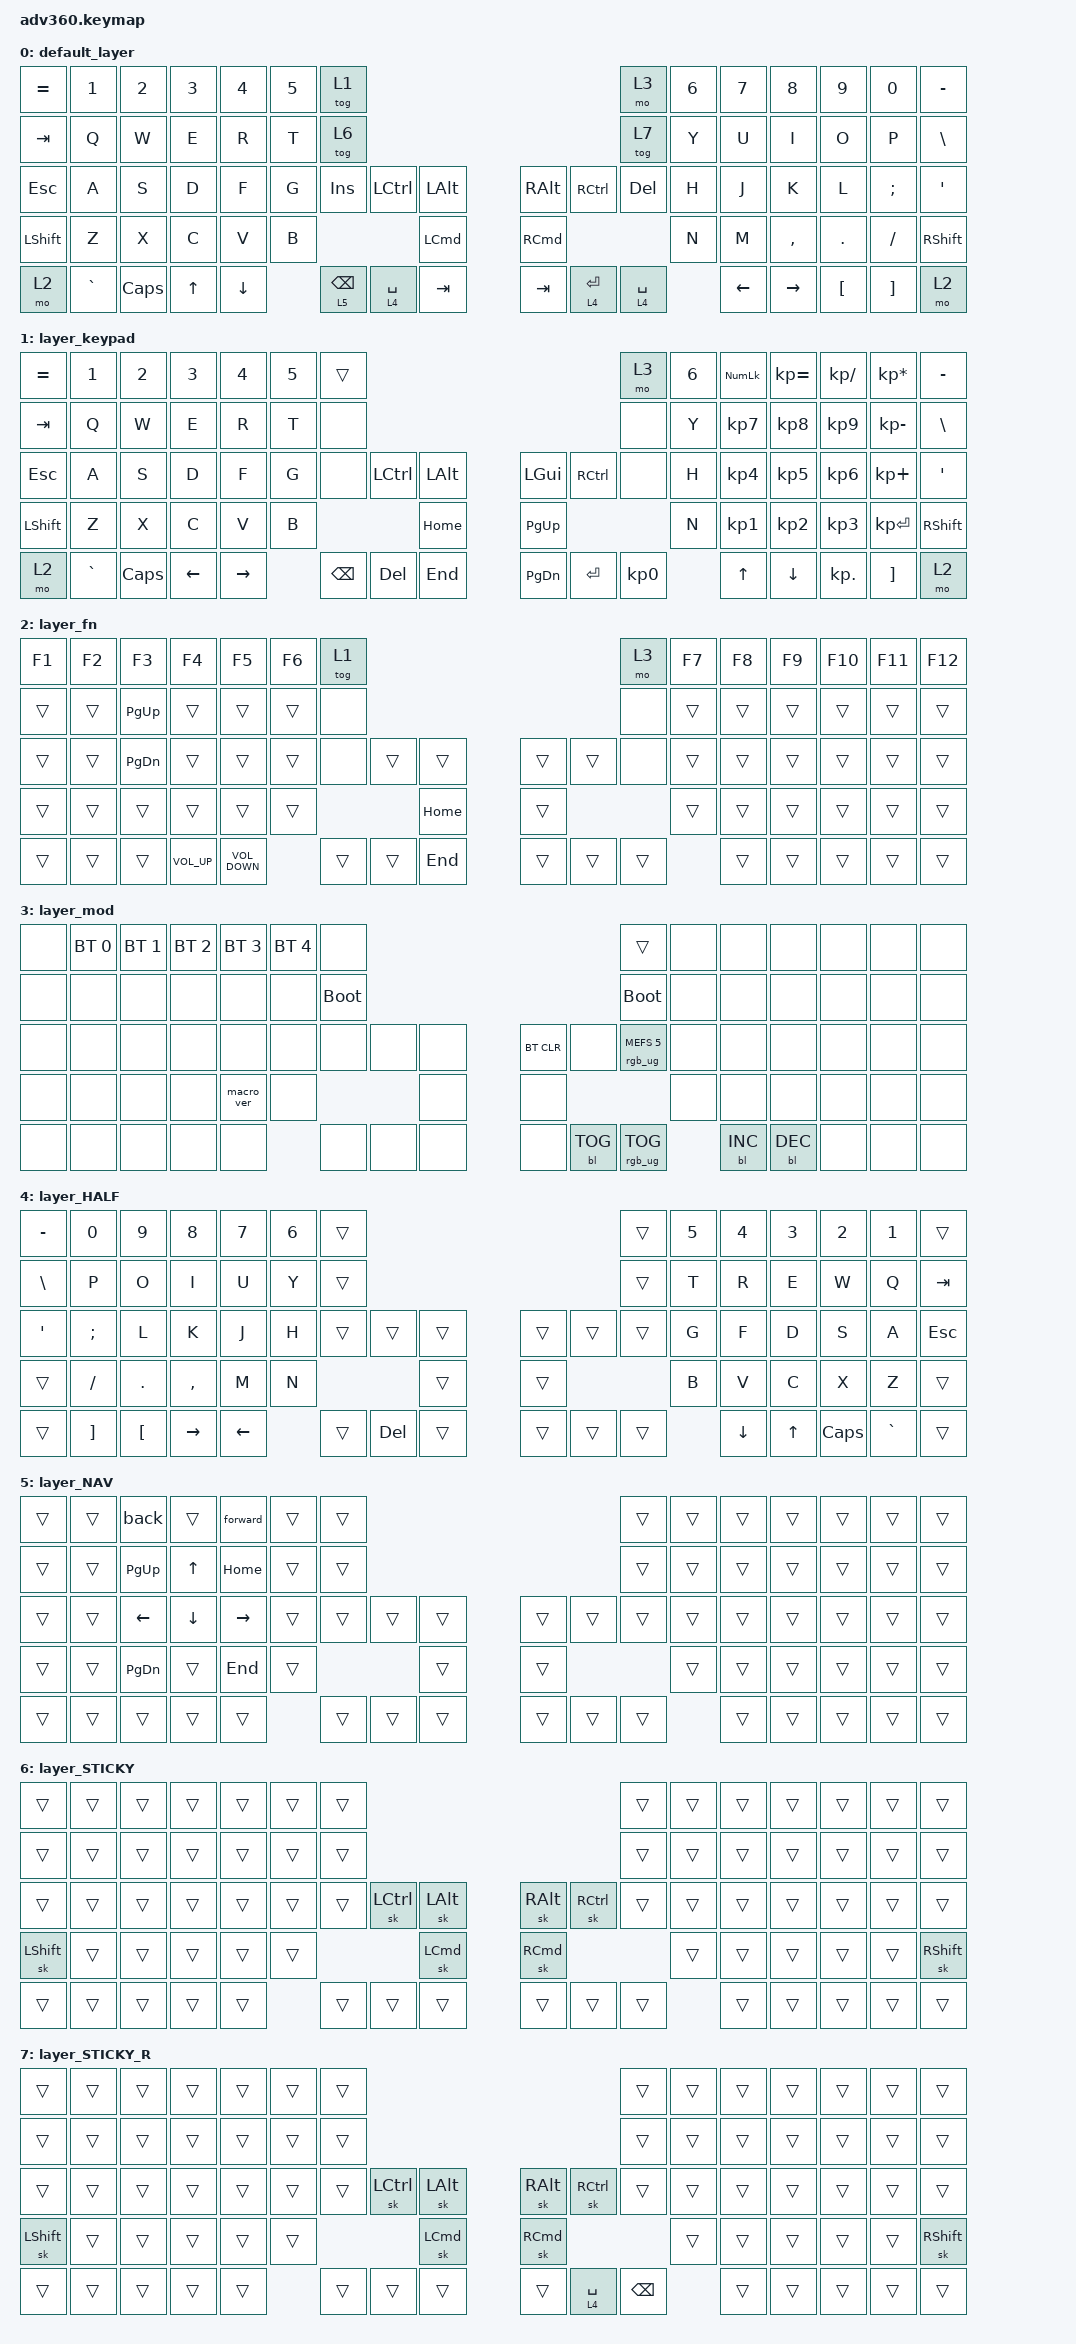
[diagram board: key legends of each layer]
/*
 * Copyright (c) 2020 The ZMK Contributors
 *
 * SPDX-License-Identifier: MIT
 */
/* THIS FILE WAS GENERATED!
 *
 * This file was generated automatically. You may or may not want to
 * edit it directly.
 */

#include <behaviors.dtsi>
#include <dt-bindings/zmk/backlight.h>
#include <dt-bindings/zmk/bt.h>
#include <dt-bindings/zmk/keys.h>
#include <dt-bindings/zmk/rgb.h>

/ {
    behaviors {
        #include "macros.dtsi"
    #include "version.dtsi"

        hm: homerow_mods {
            compatible = "zmk,behavior-hold-tap";
            label = "HOMEROW_MODS";
            #binding-cells = <2>;
            tapping-term-ms = <200>;
            quick_tap_ms = <175>;
            flavor = "tap-preferred";
            bindings = <&kp>, <&kp>;
        };
    };

    combos {
        compatible = "zmk,combos";

        Enter {
            bindings = <&kp ENTER>;
            key-positions = <30 31>;
        };

        Undo {
            bindings = <&xc_undo>;
            key-positions = <48 49>;
        };

        Backspace {
            bindings = <&kp BACKSPACE>;
            key-positions = <49 32>;
        };

        Control {
            bindings = <&sk LCTRL>;
            key-positions = <49 50>;
        };

        Shift {
            bindings = <&sk LSHIFT>;
            key-positions = <32 31>;
        };

        Command {
            bindings = <&sk LEFT_COMMAND>;
            key-positions = <50 51>;
        };

        Option {
            bindings = <&sk LEFT_ALT>;
            key-positions = <32 33>;
        };

        Escape {
            bindings = <&kp ESCAPE>;
            key-positions = <31 50>;
        };

        ControlR {
            bindings = <&sk LCTRL>;
            key-positions = <55 56>;
        };

        ShiftR {
            bindings = <&sk LSHIFT>;
            key-positions = <41 42>;
        };

        CommandR {
            bindings = <&sk LEFT_COMMAND>;
            key-positions = <54 55>;
        };

        OptionR {
            bindings = <&sk LEFT_ALT>;
            key-positions = <40 41>;
        };

        TabL {
            bindings = <&kp TAB>;
            key-positions = <18 19>;
        };

        TabR {
            bindings = <&kp TAB>;
            key-positions = <22 23>;
        };

        BackspaceR {
            bindings = <&kp BACKSPACE>;
            key-positions = <41 56>;
        };

        EnterR {
            bindings = <&kp ENTER>;
            key-positions = <42 43>;
        };

        UndoR {
            bindings = <&xc_undo>;
            key-positions = <56 57>;
        };
    };

    macros {
        xc_undo: xc_undo {
            compatible = "zmk,behavior-macro";
            #binding-cells = <0>;
            bindings = <&kp LS(LC(MINUS))>;
            label = "XC_UNDO";
        };

        forward: forward {
            compatible = "zmk,behavior-macro";
            #binding-cells = <0>;
            bindings = <&kp LG(RIGHT_BRACKET)>;
            label = "FORWARD";
        };

        back: back {
            compatible = "zmk,behavior-macro";
            #binding-cells = <0>;
            bindings = <&kp LG(LEFT_BRACKET)>;
            label = "BACK";
        };
    };

    keymap {
        compatible = "zmk,keymap";

        default_layer {
            bindings = <
&kp EQUAL  &kp N1     &kp N2    &kp N3  &kp N4    &kp N5  &tog 1                                                                         &mo 3        &kp N6  &kp N7    &kp N8     &kp N9    &kp N0    &kp MINUS
&kp TAB    &kp Q      &kp W     &kp E   &kp R     &kp T   &tog 6                                                                         &tog 7       &kp Y   &kp U     &kp I      &kp O     &kp P     &kp BSLH
&kp ESC    &kp A      &kp S     &kp D   &kp F     &kp G   &kp INS     &kp LCTRL    &kp LALT              &kp RIGHT_ALT      &kp RCTRL    &kp DEL      &kp H   &kp J     &kp K      &kp L     &kp SEMI  &kp SQT
&kp LSHFT  &kp Z      &kp X     &kp C   &kp V     &kp B                            &kp LEFT_COMMAND      &kp RIGHT_COMMAND                            &kp N   &kp M     &kp COMMA  &kp DOT   &kp FSLH  &kp RSHFT
&mo 2      &kp GRAVE  &kp CAPS  &kp UP  &kp DOWN          &lt 5 BSPC  &lt 4 SPACE  &kp TAB               &kp TAB            &lt 4 ENTER  &lt 4 SPACE          &kp LEFT  &kp RIGHT  &kp LBKT  &kp RBKT  &mo 2
            >;
        };

        layer_keypad {
            bindings = <
&kp EQUAL  &kp N1     &kp N2    &kp N3    &kp N4     &kp N5  &trans                                                   &mo 3      &kp N6  &kp KP_NUM  &kp KP_EQUAL  &kp KP_DIVIDE  &kp KP_MULTIPLY  &kp MINUS
&kp TAB    &kp Q      &kp W     &kp E     &kp R      &kp T   &none                                                    &none      &kp Y   &kp KP_N7   &kp KP_N8     &kp KP_N9      &kp KP_MINUS     &kp BSLH
&kp ESC    &kp A      &kp S     &kp D     &kp F      &kp G   &none     &kp LCTRL  &kp LALT      &kp LGUI   &kp RCTRL  &none      &kp H   &kp KP_N4   &kp KP_N5     &kp KP_N6      &kp KP_PLUS      &kp SQT
&kp LSHFT  &kp Z      &kp X     &kp C     &kp V      &kp B                        &kp HOME      &kp PG_UP                        &kp N   &kp KP_N1   &kp KP_N2     &kp KP_N3      &kp KP_ENTER     &kp RSHFT
&mo 2      &kp GRAVE  &kp CAPS  &kp LEFT  &kp RIGHT          &kp BSPC  &kp DEL    &kp END       &kp PG_DN  &kp ENTER  &kp KP_N0          &kp UP      &kp DOWN      &kp KP_DOT     &kp RBKT         &mo 2
            >;
        };

        layer_fn {
            bindings = <
&kp F1  &kp F2  &kp F3       &kp F4           &kp F5             &kp F6  &tog 1                                        &mo 3   &kp F7  &kp F8  &kp F9  &kp F10  &kp F11  &kp F12
&trans  &trans  &kp PAGE_UP  &trans           &trans             &trans  &none                                         &none   &trans  &trans  &trans  &trans   &trans   &trans
&trans  &trans  &kp PG_DN    &trans           &trans             &trans  &none   &trans  &trans        &trans  &trans  &none   &trans  &trans  &trans  &trans   &trans   &trans
&trans  &trans  &trans       &trans           &trans             &trans                  &kp HOME      &trans                  &trans  &trans  &trans  &trans   &trans   &trans
&trans  &trans  &trans       &kp C_VOLUME_UP  &kp C_VOLUME_DOWN          &trans  &trans  &kp END       &trans  &trans  &trans          &trans  &trans  &trans   &trans   &trans
            >;
        };

        layer_mod {
            bindings = <
&none  &bt BT_SEL 0  &bt BT_SEL 1  &bt BT_SEL 2  &bt BT_SEL 3  &bt BT_SEL 4  &none                                                  &trans                  &none  &none       &none       &none  &none  &none
&none  &none         &none         &none         &none         &none         &bootloader                                            &bootloader             &none  &none       &none       &none  &none  &none
&none  &none         &none         &none         &none         &none         &none        &none  &none      &bt BT_CLR  &none       &rgb_ug RGB_MEFS_CMD 5  &none  &none       &none       &none  &none  &none
&none  &none         &none         &none         &macro_ver    &none                             &none      &none                                           &none  &none       &none       &none  &none  &none
&none  &none         &none         &none         &none                       &none        &none  &none      &none       &bl BL_TOG  &rgb_ug RGB_TOG                &bl BL_INC  &bl BL_DEC  &none  &none  &none
            >;
        };

        layer_HALF {
            bindings = <
&kp MINUS         &kp NUMBER_0       &kp NUMBER_9      &kp NUMBER_8     &kp NUMBER_7    &kp NUMBER_6  &trans                                          &trans  &kp N5  &kp NUMBER_4    &kp NUMBER_3  &kp NUMBER_2  &kp NUMBER_1  &trans
&kp BACKSLASH     &kp P              &kp O             &kp I            &kp U           &kp Y         &trans                                          &trans  &kp T   &kp R           &kp E         &kp W         &kp Q         &kp TAB
&kp SINGLE_QUOTE  &kp SEMICOLON      &kp L             &kp K            &kp J           &kp H         &trans  &trans      &trans      &trans  &trans  &trans  &kp G   &kp F           &kp D         &kp S         &kp A         &kp ESCAPE
&trans            &kp SLASH          &kp PERIOD        &kp COMMA        &kp M           &kp N                             &trans      &trans                  &kp B   &kp V           &kp C         &kp X         &kp Z         &trans
&trans            &kp RIGHT_BRACKET  &kp LEFT_BRACKET  &kp RIGHT_ARROW  &kp LEFT_ARROW                &trans  &kp DELETE  &trans      &trans  &trans  &trans          &kp DOWN_ARROW  &kp UP_ARROW  &kp CAPSLOCK  &kp GRAVE     &trans
            >;
        };

        layer_NAV {
            bindings = <
&trans  &trans  &back           &trans          &forward         &trans  &trans                                      &trans  &trans  &trans  &trans  &trans  &trans  &trans
&trans  &trans  &kp PG_UP       &kp UP_ARROW    &kp HOME         &trans  &trans                                      &trans  &trans  &trans  &trans  &trans  &trans  &trans
&trans  &trans  &kp LEFT_ARROW  &kp DOWN_ARROW  &kp RIGHT_ARROW  &trans  &trans  &trans  &trans      &trans  &trans  &trans  &trans  &trans  &trans  &trans  &trans  &trans
&trans  &trans  &kp PG_DN       &trans          &kp END          &trans                  &trans      &trans                  &trans  &trans  &trans  &trans  &trans  &trans
&trans  &trans  &trans          &trans          &trans                   &trans  &trans  &trans      &trans  &trans  &trans          &trans  &trans  &trans  &trans  &trans
            >;
        };

        layer_STICKY {
            bindings = <
&trans          &trans  &trans  &trans  &trans  &trans  &trans                                                                 &trans  &trans  &trans  &trans  &trans  &trans  &trans
&trans          &trans  &trans  &trans  &trans  &trans  &trans                                                                 &trans  &trans  &trans  &trans  &trans  &trans  &trans
&trans          &trans  &trans  &trans  &trans  &trans  &trans  &sk LCTRL  &sk LEFT_ALT          &sk RALT           &sk RCTRL  &trans  &trans  &trans  &trans  &trans  &trans  &trans
&sk LEFT_SHIFT  &trans  &trans  &trans  &trans  &trans                     &sk LEFT_COMMAND      &sk RIGHT_COMMAND                     &trans  &trans  &trans  &trans  &trans  &sk RIGHT_SHIFT
&trans          &trans  &trans  &trans  &trans          &trans  &trans     &trans                &trans             &trans     &trans          &trans  &trans  &trans  &trans  &trans
            >;
        };

        layer_STICKY_R {
            bindings = <
&trans          &trans  &trans  &trans  &trans  &trans  &trans                                                                   &trans         &trans  &trans  &trans  &trans  &trans  &trans
&trans          &trans  &trans  &trans  &trans  &trans  &trans                                                                   &trans         &trans  &trans  &trans  &trans  &trans  &trans
&trans          &trans  &trans  &trans  &trans  &trans  &trans  &sk LCTRL  &sk LEFT_ALT          &sk RALT           &sk RCTRL    &trans         &trans  &trans  &trans  &trans  &trans  &trans
&sk LEFT_SHIFT  &trans  &trans  &trans  &trans  &trans                     &sk LEFT_COMMAND      &sk RIGHT_COMMAND                              &trans  &trans  &trans  &trans  &trans  &sk RIGHT_SHIFT
&trans          &trans  &trans  &trans  &trans          &trans  &trans     &trans                &trans             &lt 4 SPACE  &kp BACKSPACE          &trans  &trans  &trans  &trans  &trans
            >;
        };
    };
};
